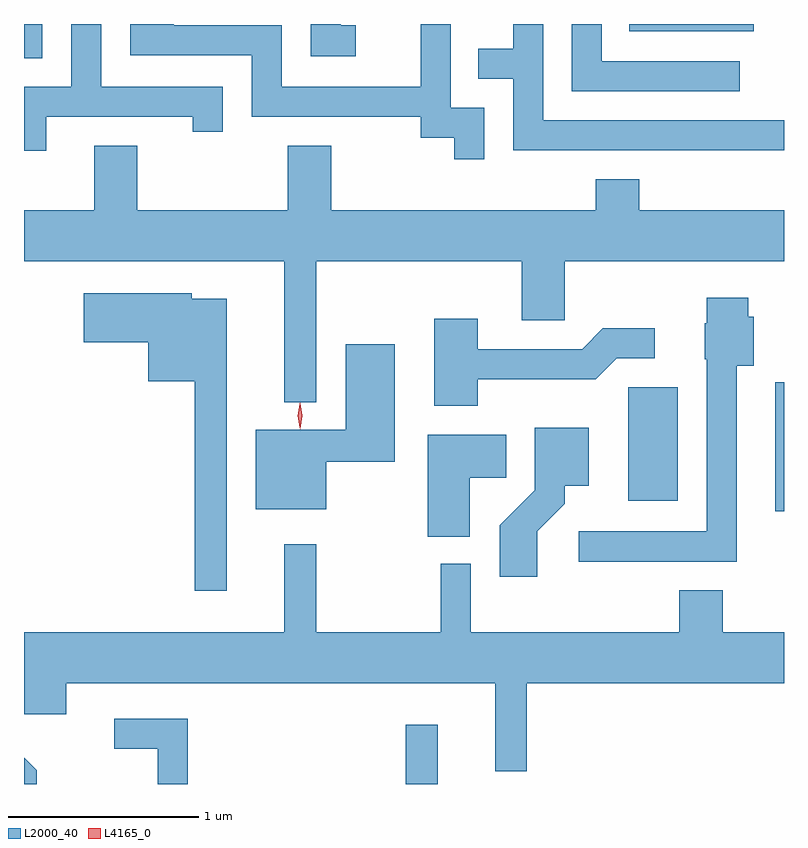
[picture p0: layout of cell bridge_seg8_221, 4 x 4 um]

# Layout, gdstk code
import gdstk
lib = gdstk.Library(unit=1e-6, precision=1e-09)
def R(c, l, rs):  # rectangles x0, y0, x1, y1
    for r in rs: c.add(gdstk.rectangle(r[:2], r[2:], *l))
def P(c, l, *ps):  # polygons
    for p in ps: c.add(gdstk.Polygon(p, *l))
L2000_40 = (2000, 40)
L4165_0 = (4165, 0)

bridge_seg8_221 = lib.new_cell('bridge_seg8_221')
R(bridge_seg8_221, L2000_40, [(1144.981,1906.925,1145.149,1907.238), (1146.926,1908.361,1146.972,1909.039), (1146.151,1908.416,1146.414,1909.014), (1142.972,1910.746,1143.069,1910.925), (1146.158,1910.886,1146.814,1910.925)])
P(bridge_seg8_221, L2000_40, [(1143.089,1910.436),(1143.861,1910.436),(1143.861,1910.358),(1144.019,1910.358),(1144.019,1910.594),(1143.379,1910.594),(1143.379,1910.925),(1143.221,1910.925),(1143.221,1910.594),(1142.972,1910.594),(1142.972,1910.258),(1143.089,1910.258)],
  [(1144.718,1910.919),(1144.639,1910.919),(1144.639,1910.925),(1144.481,1910.925),(1144.481,1910.756),(1144.718,1910.756)],
  [(1146.738,1910.729),(1146.014,1910.729),(1146.014,1910.925),(1145.856,1910.925),(1145.856,1910.571),(1146.738,1910.571)],
  [(1145.394,1910.484),(1145.219,1910.484),(1145.219,1910.925),(1145.061,1910.925),(1145.061,1910.594),(1144.329,1910.594),(1144.329,1910.919),(1143.759,1910.919),(1143.759,1910.925),(1143.531,1910.925),(1143.531,1910.761),(1144.171,1910.761),(1144.171,1910.436),(1145.061,1910.436),(1145.061,1910.326),(1145.236,1910.326),(1145.236,1910.213),(1145.394,1910.213)],
  [(1146.972,1910.419),(1145.704,1910.419),(1145.704,1910.925),(1145.546,1910.925),(1145.546,1910.794),(1145.363,1910.794),(1145.363,1910.636),(1145.546,1910.636),(1145.546,1910.261),(1146.972,1910.261)],
  [(1144.509,1909.676),(1145.591,1909.676),(1145.591,1909.366),(1145.819,1909.366),(1145.819,1909.676),(1146.972,1909.676),(1146.972,1909.944),(1146.209,1909.944),(1146.209,1910.109),(1145.981,1910.109),(1145.981,1909.944),(1144.589,1909.944),(1144.589,1910.284),(1144.361,1910.284),(1144.361,1909.944),(1143.569,1909.944),(1143.569,1910.284),(1143.341,1910.284),(1143.341,1909.944),(1142.972,1909.944),(1142.972,1909.676),(1144.341,1909.676),(1144.341,1908.933),(1144.509,1908.933)],
  [(1144.039,1909.479),(1143.854,1909.479),(1143.854,1909.509),(1143.286,1909.509),(1143.286,1909.251),(1143.626,1909.251),(1143.626,1909.046),(1143.871,1909.046),(1143.871,1907.943),(1144.039,1907.943)],
  [(1146.724,1909.126),(1146.814,1909.126),(1146.814,1909.384),(1146.784,1909.384),(1146.784,1909.484),(1146.566,1909.484),(1146.566,1909.35),(1146.556,1909.35),(1146.556,1909.16),(1146.566,1909.16),(1146.566,1908.254),(1145.893,1908.254),(1145.893,1908.096),(1146.724,1908.096)],
  [(1145.359,1909.056),(1145.982,1909.056),(1146.092,1909.166),(1146.293,1909.166),(1146.293,1909.324),(1146.019,1909.324),(1145.909,1909.214),(1145.359,1909.214),(1145.359,1909.374),(1145.131,1909.374),(1145.131,1908.916),(1145.359,1908.916)],
  [(1144.564,1908.621),(1144.924,1908.621),(1144.924,1909.239),(1144.666,1909.239),(1144.666,1908.789),(1144.191,1908.789),(1144.191,1908.371),(1144.564,1908.371)],
  [(1145.674,1908.254),(1145.819,1908.399),(1145.819,1908.496),(1145.944,1908.496),(1145.944,1908.799),(1145.661,1908.799),(1145.661,1908.472),(1145.476,1908.287),(1145.476,1908.016),(1145.674,1908.016)],
  [(1145.319,1908.536),(1145.509,1908.536),(1145.509,1908.764),(1145.096,1908.764),(1145.096,1908.226),(1145.319,1908.226)],
  [(1145.619,1907.456),(1146.972,1907.456),(1146.972,1907.724),(1146.649,1907.724),(1146.649,1907.944),(1146.421,1907.944),(1146.421,1907.724),(1145.324,1907.724),(1145.324,1908.083),(1145.166,1908.083),(1145.166,1907.724),(1144.509,1907.724),(1144.509,1908.188),(1144.341,1908.188),(1144.341,1907.724),(1142.972,1907.724),(1142.972,1907.291),(1143.194,1907.291),(1143.194,1907.456),(1145.451,1907.456),(1145.451,1906.993),(1145.619,1906.993)],
  [(1143.834,1907.269),(1143.448,1907.269),(1143.448,1907.111),(1143.676,1907.111),(1143.676,1906.925),(1143.834,1906.925)],
  [(1143.039,1906.997),(1142.972,1907.064),(1142.972,1906.925),(1143.039,1906.925)])
P(bridge_seg8_221, L4165_0, [(1144.422,1908.799),(1144.422,1908.799),(1144.412,1908.863),(1144.422,1908.927),(1144.422,1908.928),(1144.423,1908.927),(1144.432,1908.863),(1144.423,1908.799)],
  [(1144.427,1908.793),(1144.426,1908.794),(1144.417,1908.862),(1144.426,1908.93),(1144.427,1908.931),(1144.427,1908.93),(1144.437,1908.862),(1144.427,1908.794)])

lib.write_gds('bridge_seg8_221.gds')
